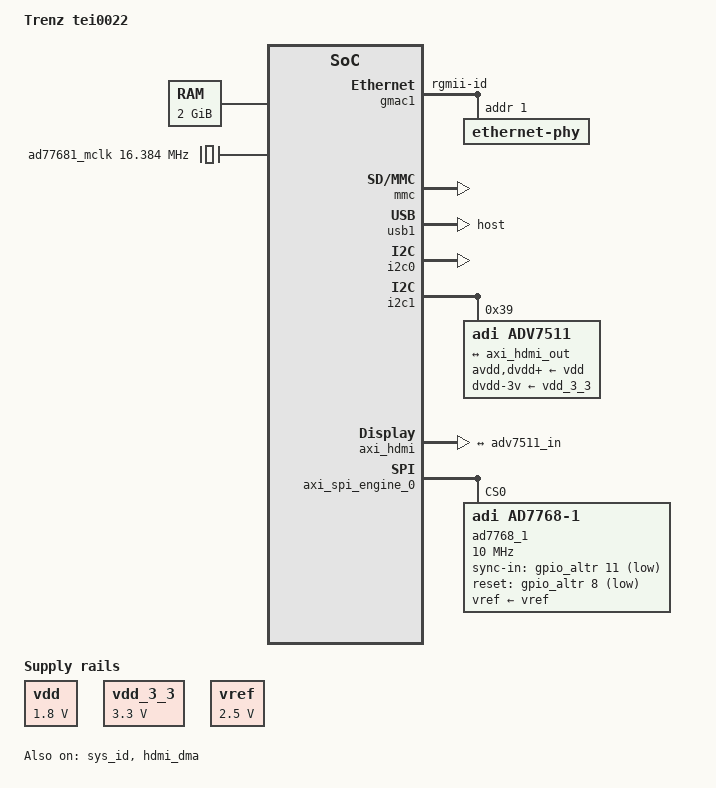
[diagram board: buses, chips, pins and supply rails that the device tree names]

#include "socfpga_cyclone5.dtsi"
#include "dt-bindings/interrupt-controller/irq.h"
#include <dt-bindings/gpio/gpio.h>

/ {
	model = "Trenz tei0022";
	compatible = "altr,socfpga-cyclone5", "altr,socfpga";

	chosen {
		bootargs = "earlyprintk";
		stdout-path = "serial0:115200n8";
	};

	memory {
		name = "memory";
		device_type = "memory";
		reg = <0x0 0x80000000>;
	};

	aliases {
		ethernet0 = &gmac1;
	};

	dma_clk: dma_clk {
		#clock-cells = <0x0>;
		compatible = "fixed-clock";
		clock-frequency = <100000000>;
		clock-output-names = "dma_clock";
	};


	ad77681_mclk: ad77681_mclk {
		#clock-cells = <0>;
		compatible = "fixed-clock";
		clock-frequency = <16384000>;
	};

	 spi_engine_clk: spi_engine_clk {
                #clock-cells = <0x0>;
                compatible = "fixed-clock";
                clock-frequency = <166666666>;
                clock-output-names = "spi_engine_clock";
        };


	sys_clk: sys_clk {
		#clock-cells = <0x0>;
		compatible = "fixed-clock";
		clock-frequency = <80000000>;
		clock-output-names = "sys_clock";
	};

	hdmi_pll: hdmi_pll {
		compatible = "altr,altera_iopll-18.1";
		#clock-cells = <1>;
			hdmi_pll_outclk0: hdmi_pll_outclk0 {
			compatible = "fixed-clock";
			#clock-cells = <0>;
			clock-frequency = <148500000>;
			clock-output-names = "hdmi_pll-outclk0";
		}; 
	};

	/* add additional system clock device tree entries here */

        vdd: regulator-vdd {
                compatible = "regulator-fixed";
                regulator-name = "fixed-supply";
                regulator-min-microvolt = <1800000>;
                regulator-max-microvolt = <1800000>;
                regulator-always-on;
        };

        vdd_3_3: regulator-vdd {
                compatible = "regulator-fixed";
                regulator-name = "fixed-supply";
                regulator-min-microvolt = <3300000>;
                regulator-max-microvolt = <3300000>;
                regulator-always-on;
        };

        vref: regulator-vref {
                compatible = "regulator-fixed";
                regulator-name = "fixed-supply";
                regulator-min-microvolt = <2500000>;
                regulator-max-microvolt = <2500000>;
                regulator-always-on;
        };


	soc {
		clkmgr@ffd04000 {
			clocks {
				osc1 {
					clock-frequency = <25000000>;
				};
			};
		};

		gmac1: ethernet@ff702000 {

			#address-cells = <1>;
        		#size-cells = <0>;

			status = "okay";
			phy-mode = "rgmii-id";

       			ethernet-phy@1 {
				reg = <1>;
				adi,rx-internal-delay-ps = <2000>;
				adi,tx-internal-delay-ps = <2000>;
        		};

		};

		timer0: timer0@ffc08000 {
			clock-frequency = <100000000>;
		};

		timer1: timer1@ffc09000 {
			clock-frequency = <100000000>;
		};

		timer2: timer2@ffd00000 {
			clock-frequency = <25000000>;
		};

		timer3: timer3@ffd01000 {
			clock-frequency = <25000000>;
		};

		uart0: serial0@ffc02000 {
			clock-frequency = <100000000>;
		};

		uart1: serial1@ffc03000 {
			clock-frequency = <100000000>;
		};

		mmc: dwmmc0@ff704000 {
			status = "okay";
			supports-highspeed;
			altr,dw-mshc-ciu-div = <0x3>;
			altr,dw-mshc-sdr-timing = <0x0 0x3>;
			slot@0 {
				reg = <0x0>;
				bus-width = <0x4>;
			};
		};

		usb1: usb@ffb40000 {
			status = "okay";
			enable-dynamic-fifo = <1>;
			host-rx-fifo-size = <0xa00>;
			host-perio-tx-fifo-size = <0xa00>;
			host-nperio-tx-fifo-size = <0xa00>;
			dma-desc-enable = <0>;
			dr_mode = "host";
		};

		i2c0: i2c@ffc04000 {
			status = "okay";
			speed-mode = <0>;
			#address-cells = <1>;
			#size-cells = <0>;
		};

		i2c1: i2c@ffc05000 {
			status = "okay";
			speed-mode = <0>;
			#address-cells = <1>;
			#size-cells = <0>;

			/* adv7511 device tree entry. for additional information see /linux/Documentation/devicetree/bindings/display/bridge/adi,adv7511.txt */

			adv7511: adv7511@39 {
				compatible = "adi,adv7511";
				reg = <0x39>, <0x3f>;
				reg-names = "primary", "edid";

				adi,input-depth = <8>;
				adi,input-colorspace = "yuv422";
				adi,input-clock = "1x";
				adi,input-style = <1>;
				adi,input-justification = "right";
				adi,clock-delay = <(0)>;

				avdd-supply = <&vdd>;
				dvdd-supply = <&vdd>;
				pvdd-supply = <&vdd>;
				dvdd-3v-supply = <&vdd_3_3>;
				bgvdd-supply = <&vdd>;

				status = "okay";

				ports {
					#address-cells = <1>;
					#size-cells = <0>;

					port@0 {
						reg = <0>;
						adv7511_in: endpoint {
							remote-endpoint = <&axi_hdmi_out>;
						};
					}; 

					port@1 {
						reg = <1>;
						
					};

				}; 
			};
		};

		/* add additional hps peripheral device tree entries here */


		sys_hps_bridges: bridge@ff200000 {
			compatible = "simple-bus";
			reg = <0xff200000 0x00200000>;
			reg-names ="axi_h2f_lw";
			#address-cells = <2>;
			#size-cells = <1>;
			ranges = <0x00000001 0x00010000 0xff210000 0x00000008>,
				<0x00000001 0x00020050 0xff220050 0x00000080>,
				<0x00000001 0x00020080 0xff220080 0x00000080>,
				<0x00000001 0x00030000 0xff230000 0x00000800>,
				<0x00000001 0x00038000 0xff238000 0x00000800>,
				<0x00000001 0x00040000 0xff240000 0x00010000>,
				<0x00000001 0x00050000 0xff250000 0x00000800>,
				<0x00000001 0x00090000 0xff290000 0x00000800>,
				<0x00000001 0x000a0000 0xff2a0000 0x00010000>;

			sys_id: sys-id@100010000 {
				compatible = "altr,sysid-1.0";
				reg = <0x00000001 0x00010000 0x08>;
				status = "okay";
			};

			gpio_altr: gpio_altr@100020050 {
                                compatible = "altr,pio-1.0";
                                //reg = <0xff220050 0x10>;
                                reg = <0x00000001 0x00020050 0x08>;
                                //interrupts = <0 47 4>;
                                altr,ngpio = <32>;
                                //altr,interrupt-type = <IRQ_TYPE_EDGE_RISING>;
                                #gpio-cells = <2>;
                                //gpio-controller;
                                //interrupt-controller;
                                //#interrupt-cells = <1>;
                        };

			hdmi_dma: hdmi-dma@100090000 {
				compatible = "adi,axi-dmac-1.00.a";
				reg = <0x00000001 0x00090000 0x0800>;
				#dma-cells = <1>;
				interrupt-parent = <&intc>;
				interrupts = <0 44 4>;
				clocks = <&dma_clk 0>;
				status = "okay";

				adi,channels {
					#size-cells = <0>;
					#address-cells = <1>;

					dma-channel@0 {
						reg = <0>;
						adi,source-bus-width = <64>;
						adi,source-bus-type = <0>;
						adi,destination-bus-width = <64>;
						adi,destination-bus-type = <1>;
					};
				};
			};


			axi_hdmi: axi-hdmi@1000a0000 {
				compatible = "adi,axi-hdmi-tx-1.00.a";
				reg = <0x00000001 0x000a0000 0x10000>;
				dmas = <&hdmi_dma 0>;
				dma-names = "video";
				clocks = <&hdmi_pll 0>;
				status = "okay";

				port {
					axi_hdmi_out: endpoint {
						remote-endpoint = <&adv7511_in>;
					};
				};
			};

// adi axi_spi_engine device tree entry. for additional information see /linux/Documentation/devicetree/bindings/spi/adi,axi-spi-engine.txt //

			axi_spi_engine_0: axi-spi-engine@40000 {
				compatible = "adi,axi-spi-engine-1.00.a";
				reg = <0x00000001 0x00040000 0x00010000>;
				interrupt-parent = <&intc>;
				interrupts = <0 46 4>;
				clocks = <&spi_engine_clk>, <&spi_engine_clk>;
				clock-names = "s_axi_aclk", "spi_clk";
				num-cs = <1>;

				#address-cells = <0x1>;
				#size-cells = <0x0>;

				ad7768_1: adc@0 {
                        		compatible = "adi,ad7768-1";
                        		reg = <0>;
                        		spi-max-frequency = <10000000>;
                       			spi-cpol;
                       	 		spi-cpha;
                        		vref-supply = <&vref>;
					adi,sync-in-gpios = <&gpio_altr 11 GPIO_ACTIVE_LOW>;
                                        reset-gpios = <&gpio_altr 8 GPIO_ACTIVE_LOW>;
                        		clocks = <&ad77681_mclk>;
                        		clock-names = "mclk";
                        		dmas = <&rx_dma 0>;
                        		dma-names = "rx";
                        		#io-channel-cells = <1>;
					#gpio-cells = <2>;
               			 };
				
			};
					
			rx_dma: rx-dmac@0 {
				compatible = "adi,axi-dmac-1.00.a";
				reg = <0x00000001 0x00050000 0x00000800>;
				interrupt-parent = <&intc>;
				interrupts = <0 45 4>;
				#dma-cells = <1>;
				clocks = <&dma_clk>;

				adi,channels {
					#size-cells = <0>;
					#address-cells = <1>;

					dma-channel@0 {
						reg = <0>;
						adi,source-bus-width = <32>;
						adi,source-bus-type = <1>;
						adi,destination-bus-width = <64>;
						adi,destination-bus-type = <0>;
					};
				};
			};

			// add addiional FPGA peripheral device tree entries here 

		};
	};
};
